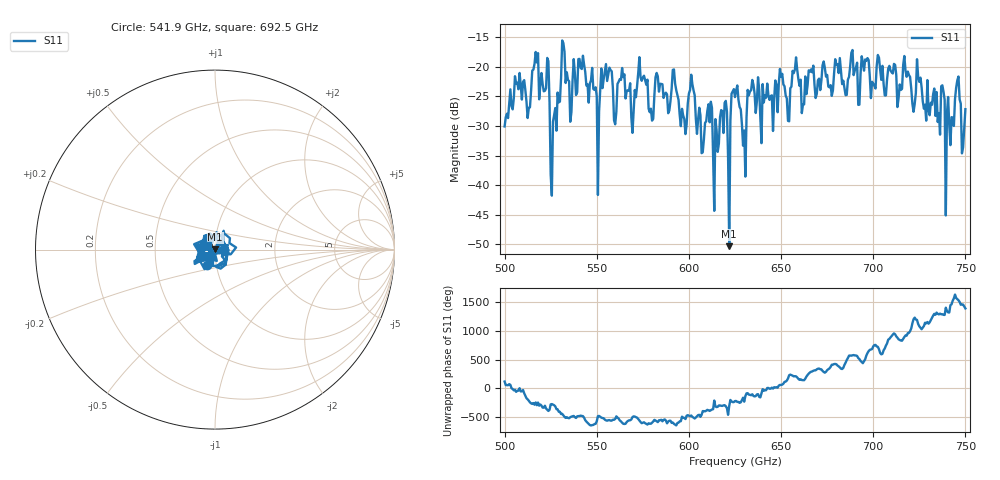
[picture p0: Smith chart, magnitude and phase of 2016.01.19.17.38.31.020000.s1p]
!Created with skrf (http://scikit-rf.org).
# GHz S RI R 50.0
!freq ReS11 ImS11
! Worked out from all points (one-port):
!   401 points, 500 GHz to 750 GHz, reference 50 ohm
!   lowest |S11| = -50.3 dB at 621.9 GHz (marker M1), VSWR 1.01, Z = 50.2 + j0.265 ohm
!   |S11| at or under -10 dB: start of sweep to end of sweep
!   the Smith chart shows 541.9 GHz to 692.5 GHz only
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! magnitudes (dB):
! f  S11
! 500 GHz  -30.1
! 506.9 GHz  -22.7
! 513.1 GHz  -27.0
! 516.9 GHz  -17.5
! 523.1 GHz  -18.5
! 526.2 GHz  -29.3
! 531.2 GHz  -15.6
! 535.6 GHz  -29.3
! 541.9 GHz  -20.4
! 550 GHz  -25.0
! 553.8 GHz  -22.1
! 562.5 GHz  -22.1
! 593.8 GHz  -24.8
! 608.1 GHz  -32.2
! 611.2 GHz  -29.4
! 614.4 GHz  -28.9
! 619.4 GHz  -26.1
! 621.9 GHz  -50.3
! 625 GHz  -25.1
! 630 GHz  -30.8
! 633.1 GHz  -24.2
! 656.2 GHz  -20.7
! 687.5 GHz  -19.9
! 718.8 GHz  -20.8
! 737.5 GHz  -23.2
! 740.6 GHz  -25.1
! 745.6 GHz  -22.3
! 750 GHz  -27.2
